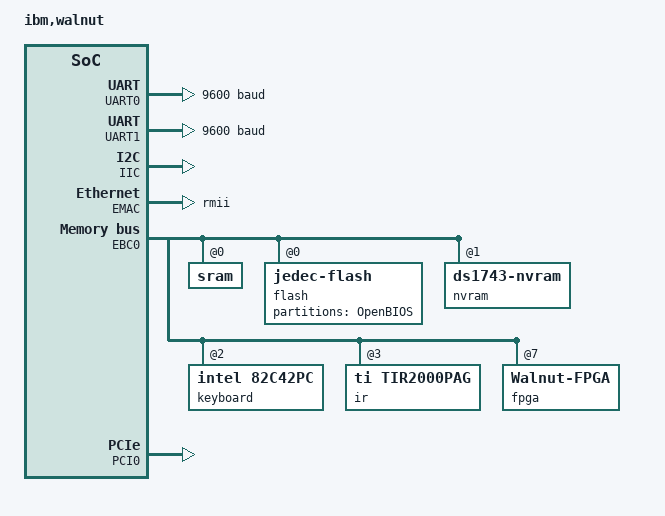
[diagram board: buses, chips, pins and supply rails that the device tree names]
/*
 * Device Tree Source for IBM Walnut
 *
 * Copyright 2007 IBM Corp.
 * Josh Boyer <jwboyer@linux.vnet.ibm.com>
 *
 * This file is licensed under the terms of the GNU General Public
 * License version 2.  This program is licensed "as is" without
 * any warranty of any kind, whether express or implied.
 */

/dts-v1/;

/ {
	#address-cells = <1>;
	#size-cells = <1>;
	model = "ibm,walnut";
	compatible = "ibm,walnut";
	dcr-parent = <&{/cpus/cpu@0}>;

	aliases {
		ethernet0 = &EMAC;
		serial0 = &UART0;
		serial1 = &UART1;
	};

	cpus {
		#address-cells = <1>;
		#size-cells = <0>;

		cpu@0 {
			device_type = "cpu";
			model = "PowerPC,405GP";
			reg = <0x00000000>;
			clock-frequency = <200000000>; /* Filled in by zImage */
			timebase-frequency = <0>; /* Filled in by zImage */
			i-cache-line-size = <32>;
			d-cache-line-size = <32>;
			i-cache-size = <16384>;
			d-cache-size = <16384>;
			dcr-controller;
			dcr-access-method = "native";
		};
	};

	memory {
		device_type = "memory";
		reg = <0x00000000 0x00000000>; /* Filled in by zImage */
	};

	UIC0: interrupt-controller {
		compatible = "ibm,uic";
		interrupt-controller;
		cell-index = <0>;
		dcr-reg = <0x0c0 0x009>;
		#address-cells = <0>;
		#size-cells = <0>;
		#interrupt-cells = <2>;
	};

	plb {
		compatible = "ibm,plb3";
		#address-cells = <1>;
		#size-cells = <1>;
		ranges;
		clock-frequency = <0>; /* Filled in by zImage */

		SDRAM0: memory-controller {
			compatible = "ibm,sdram-405gp";
			dcr-reg = <0x010 0x002>;
		};

		MAL: mcmal {
			compatible = "ibm,mcmal-405gp", "ibm,mcmal";
			dcr-reg = <0x180 0x062>;
			num-tx-chans = <1>;
			num-rx-chans = <1>;
			interrupt-parent = <&UIC0>;
			interrupts = <
				0xb 0x4 /* TXEOB */
				0xc 0x4 /* RXEOB */
				0xa 0x4 /* SERR */
				0xd 0x4 /* TXDE */
				0xe 0x4 /* RXDE */>;
		};

		POB0: opb {
			compatible = "ibm,opb-405gp", "ibm,opb";
			#address-cells = <1>;
			#size-cells = <1>;
			ranges = <0xef600000 0xef600000 0x00a00000>;
			dcr-reg = <0x0a0 0x005>;
			clock-frequency = <0>; /* Filled in by zImage */

			UART0: serial@ef600300 {
				device_type = "serial";
				compatible = "ns16550";
				reg = <0xef600300 0x00000008>;
				virtual-reg = <0xef600300>;
				clock-frequency = <0>; /* Filled in by zImage */
				current-speed = <9600>;
				interrupt-parent = <&UIC0>;
				interrupts = <0x0 0x4>;
			};

			UART1: serial@ef600400 {
				device_type = "serial";
				compatible = "ns16550";
				reg = <0xef600400 0x00000008>;
				virtual-reg = <0xef600400>;
				clock-frequency = <0>; /* Filled in by zImage */
				current-speed = <9600>;
				interrupt-parent = <&UIC0>;
				interrupts = <0x1 0x4>;
			};

			IIC: i2c@ef600500 {
				compatible = "ibm,iic-405gp", "ibm,iic";
				reg = <0xef600500 0x00000011>;
				interrupt-parent = <&UIC0>;
				interrupts = <0x2 0x4>;
			};

			GPIO: gpio@ef600700 {
				compatible = "ibm,gpio-405gp";
				reg = <0xef600700 0x00000020>;
			};

			EMAC: ethernet@ef600800 {
				device_type = "network";
				compatible = "ibm,emac-405gp", "ibm,emac";
				interrupt-parent = <&UIC0>;
				interrupts = <
					0xf 0x4 /* Ethernet */
					0x9 0x4 /* Ethernet Wake Up */>;
				local-mac-address = [000000000000]; /* Filled in by zImage */
				reg = <0xef600800 0x00000070>;
				mal-device = <&MAL>;
				mal-tx-channel = <0>;
				mal-rx-channel = <0>;
				cell-index = <0>;
				max-frame-size = <1500>;
				rx-fifo-size = <4096>;
				tx-fifo-size = <2048>;
				phy-mode = "rmii";
				phy-map = <0x00000001>;
			};

		};

		EBC0: ebc {
			compatible = "ibm,ebc-405gp", "ibm,ebc";
			dcr-reg = <0x012 0x002>;
			#address-cells = <2>;
			#size-cells = <1>;
			/* The ranges property is supplied by the bootwrapper
			 * and is based on the firmware's configuration of the
			 * EBC bridge
			 */
			clock-frequency = <0>; /* Filled in by zImage */

			sram@0,0 {
				reg = <0x00000000 0x00000000 0x00080000>;
			};

			flash@0,80000 {
				compatible = "jedec-flash";
				bank-width = <1>;
				reg = <0x00000000 0x00080000 0x00080000>;
				#address-cells = <1>;
				#size-cells = <1>;
				partition@0 {
					label = "OpenBIOS";
					reg = <0x00000000 0x00080000>;
					read-only;
				};
			};

			nvram@1,0 {
				/* NVRAM and RTC */
				compatible = "ds1743-nvram";
				#bytes = <0x2000>;
				reg = <0x00000001 0x00000000 0x00002000>;
			};

			keyboard@2,0 {
				compatible = "intel,82C42PC";
				reg = <0x00000002 0x00000000 0x00000002>;
			};

			ir@3,0 {
				compatible = "ti,TIR2000PAG";
				reg = <0x00000003 0x00000000 0x00000010>;
			};

			fpga@7,0 {
				compatible = "Walnut-FPGA";
				reg = <0x00000007 0x00000000 0x00000010>;
				virtual-reg = <0xf0300005>;
			};
		};

		PCI0: pci@ec000000 {
			device_type = "pci";
			#interrupt-cells = <1>;
			#size-cells = <2>;
			#address-cells = <3>;
			compatible = "ibm,plb405gp-pci", "ibm,plb-pci";
			primary;
			reg = <0xeec00000 0x00000008	/* Config space access */
			       0xeed80000 0x00000004	/* IACK */
			       0xeed80000 0x00000004	/* Special cycle */
			       0xef480000 0x00000040>;	/* Internal registers */

			/* Outbound ranges, one memory and one IO,
			 * later cannot be changed. Chip supports a second
			 * IO range but we don't use it for now
			 */
			ranges = <0x02000000 0x00000000 0x80000000 0x80000000 0x00000000 0x20000000
				  0x01000000 0x00000000 0x00000000 0xe8000000 0x00000000 0x00010000>;

			/* Inbound 2GB range starting at 0 */
			dma-ranges = <0x42000000 0x0 0x0 0x0 0x0 0x80000000>;

			/* Walnut has all 4 IRQ pins tied together per slot */
			interrupt-map-mask = <0xf800 0x0 0x0 0x0>;
			interrupt-map = <
				/* IDSEL 1 */
				0x800 0x0 0x0 0x0 &UIC0 0x1c 0x8

				/* IDSEL 2 */
				0x1000 0x0 0x0 0x0 &UIC0 0x1d 0x8

				/* IDSEL 3 */
				0x1800 0x0 0x0 0x0 &UIC0 0x1e 0x8

				/* IDSEL 4 */
				0x2000 0x0 0x0 0x0 &UIC0 0x1f 0x8
			>;
		};
	};

	chosen {
		linux,stdout-path = "/plb/opb/serial@ef600300";
	};
};
